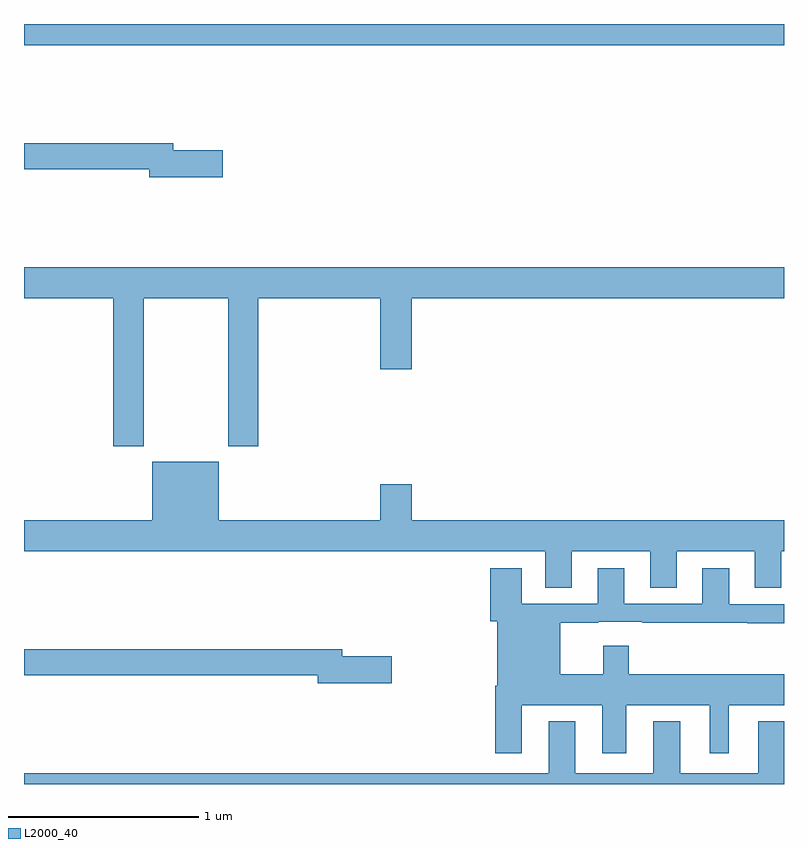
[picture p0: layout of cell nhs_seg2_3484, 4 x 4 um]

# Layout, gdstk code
import gdstk
lib = gdstk.Library(unit=1e-6, precision=1e-09)
def R(c, l, rs):  # rectangles x0, y0, x1, y1
    for r in rs: c.add(gdstk.rectangle(r[:2], r[2:], *l))
def P(c, l, *ps):  # polygons
    for p in ps: c.add(gdstk.Polygon(p, *l))
L2000_40 = (2000, 40)

nhs_seg2_3484 = lib.new_cell('nhs_seg2_3484')
R(nhs_seg2_3484, L2000_40, [(295,595.688,299,595.8)])
P(nhs_seg2_3484, L2000_40, [(296.047,595.136),(295.786,595.136),(295.786,595.172),(295,595.172),(295,595.036),(295.658,595.036),(295.658,594.994),(296.047,594.994)],
  [(295.629,594.356),(296.074,594.356),(296.074,593.577),(296.234,593.577),(296.234,594.356),(296.876,594.356),(296.876,593.982),(297.04,593.982),(297.04,594.356),(299,594.356),(299,594.52),(295,594.52),(295,594.356),(295.469,594.356),(295.469,593.577),(295.629,593.577)],
  [(297.883,593.024),(298.295,593.024),(298.295,592.834),(298.435,592.834),(298.435,593.024),(298.847,593.024),(298.847,592.834),(298.986,592.834),(298.986,593.024),(299,593.024),(299,593.188),(297.04,593.188),(297.04,593.377),(296.876,593.377),(296.876,593.188),(296.026,593.188),(296.026,593.497),(295.676,593.497),(295.676,593.188),(295,593.188),(295,593.024),(297.743,593.024),(297.743,592.834),(297.883,592.834)],
  [(297.619,592.214),(298.043,592.214),(298.043,591.963),(298.171,591.963),(298.171,592.214),(298.61,592.214),(298.61,591.963),(298.708,591.963),(298.708,592.214),(299,592.214),(299,592.378),(298.184,592.378),(298.184,592.528),(298.049,592.528),(298.049,592.378),(297.823,592.378),(297.823,592.648),(298.023,592.648),(298.023,592.653),(298.255,592.653),(298.255,592.648),(298.807,592.648),(298.807,592.646),(299,592.646),(299,592.746),(298.711,592.746),(298.711,592.936),(298.571,592.936),(298.571,592.749),(298.159,592.749),(298.159,592.936),(298.019,592.936),(298.019,592.749),(297.619,592.749),(297.619,592.936),(297.455,592.936),(297.455,592.656),(297.491,592.656),(297.491,592.318),(297.479,592.318),(297.479,591.963),(297.619,591.963)],
  [(296.935,592.472),(296.674,592.472),(296.674,592.508),(295,592.508),(295,592.372),(296.546,592.372),(296.546,592.33),(296.935,592.33)],
  [(299,592.129),(298.865,592.129),(298.865,591.856),(298.453,591.856),(298.453,592.129),(298.313,592.129),(298.313,591.856),(297.901,591.856),(297.901,592.129),(297.761,592.129),(297.761,591.856),(295,591.856),(295,591.8),(299,591.8)])

lib.write_gds('nhs_seg2_3484.gds')
